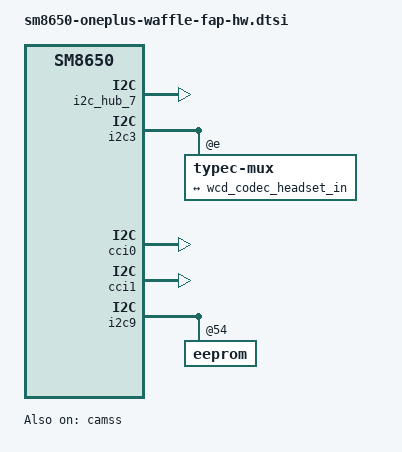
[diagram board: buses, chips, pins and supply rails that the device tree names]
// SPDX-License-Identifier: (GPL-2.0+ OR BSD-3-Clause)
/*
 * OnePlus 12 (waffle), v8 hardware additions on top of
 * sm8650-oneplus-waffle-fap.dtsi (branch oneplus12-hw). Our own file; it
 * references labels of DaDDevil's board DT, which is only read from the
 * pinned kernel tree at build time (dts/README.md).
 *
 * Included by the -netroot DT only. The -netroot-safe DT leaves it out
 * (= the v7 hardware set with the v8 kernel), as a fallback if anything
 * here keeps the sound card or the USB link from coming up.
 *
 * 1. Speakers: the two NXP TFA9874 on i2c_hub_7 behind LPASS
 *    SECONDARY_MI2S (I2S1, gpio121-124). Driver: our tfa9874
 *    (kernels/qcom-sm8650/patches/0002-*): probe resets and reads the
 *    chip and leaves it powered down; no boost converter ever; the
 *    amplifier only runs while a stream plays AND its "Amp Enable"
 *    switch (default off) is set. Topology: netroot's patched AudioReach
 *    file routes MultiMedia1/2/5 to SECONDARY_MI2S_RX.
 * 2. USB-C analog headset: link the WCD9395 codec to the WCD USB-C audio
 *    switch (typec-mux@e on i2c3) as on SM8650-QRD, so audio-accessory
 *    mode (UCSI/pmic-glink) reaches the codec's MBHC and the switch
 *    routes HPH L/R, mic and ground to the port.
 * 3. Cameras: CAMSS, CCI0/1 and i2c9 (front camera + its EEPROM, which
 *    is made read-only here) as the board DT has them.
 * Sensors (SSC on the ADSP) need no DT change: FastRPC is in sm8650.dtsi.
 */

/* 1. Speakers */
&{/sound} {
	pinctrl-0 = <&sec_mi2s_active>;
	pinctrl-names = "default";

	speaker-dai-link {
		link-name = "Speaker Playback";

		cpu {
			sound-dai = <&q6apmbedai SECONDARY_MI2S_RX>;
		};

		codec {
			sound-dai = <&speaker_amp_bot>, <&speaker_amp_top>;
		};

		platform {
			sound-dai = <&q6apm>;
		};
	};
};

&i2c_hub_7 {
	status = "okay";
};

/* vdd-supply (L15B 1.8 V) and reset-gpios (173/178, high = reset) as the board DT has them. */
&speaker_amp_bot {
	compatible = "nxp,tfa9874";
	#sound-dai-cells = <0>;
	sound-name-prefix = "SpkrBot";
};

&speaker_amp_top {
	compatible = "nxp,tfa9874";
	#sound-dai-cells = <0>;
	sound-name-prefix = "SpkrTop";
};

/* 2. USB-C analog headset (as sm8650-qrd.dts) */
&wcd939x {
	mode-switch;
	orientation-switch;

	port {
		wcd_codec_headset_in: endpoint {
			remote-endpoint = <&wcd_usbss_headset_out>;
		};
	};
};

&i2c3 {
	status = "okay";

	typec-mux@e {
		ports {
			port@1 {
				reg = <1>;

				wcd_usbss_headset_out: endpoint {
					remote-endpoint = <&wcd_codec_headset_in>;
				};
			};
		};
	};
};

/* 3. Cameras */
&camss {
	status = "okay";
};

&cci0 {
	status = "okay";
};

&cci1 {
	status = "okay";
};

&i2c9 {
	status = "okay";

	eeprom@54 {
		read-only;
	};
};
